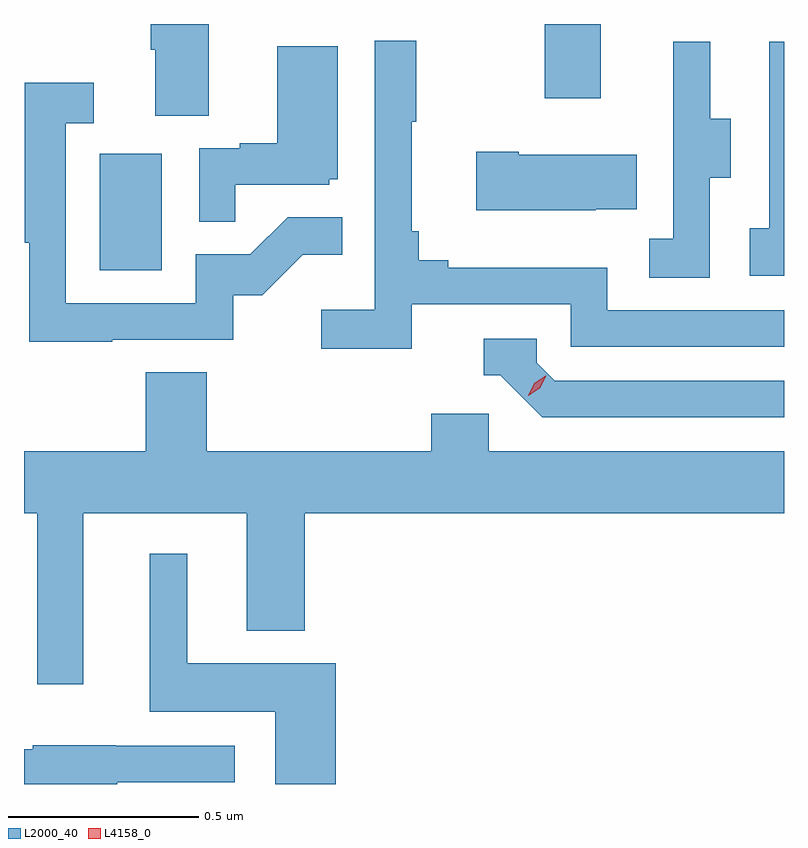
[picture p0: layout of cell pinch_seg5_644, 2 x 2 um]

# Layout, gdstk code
import gdstk
lib = gdstk.Library(unit=1e-6, precision=1e-09)
def R(c, l, rs):  # rectangles x0, y0, x1, y1
    for r in rs: c.add(gdstk.rectangle(r[:2], r[2:], *l))
def P(c, l, *ps):  # polygons
    for p in ps: c.add(gdstk.Polygon(p, *l))
L2000_40 = (2000, 40)
L4158_0 = (4158, 0)

pinch_seg5_644 = lib.new_cell('pinch_seg5_644')
R(pinch_seg5_644, L2000_40, [(1060.646,861.396,1060.81,861.703), (1061.818,861.849,1061.965,862.044)])
P(pinch_seg5_644, L2000_40, [(1060.933,862.044),(1060.781,862.044),(1060.781,861.976),(1060.793,861.976),(1060.793,861.802),(1060.933,861.802)],
  [(1061.468,861.306),(1061.886,861.306),(1061.886,861.195),(1062.447,861.195),(1062.447,861.291),(1061.982,861.291),(1061.982,861.403),(1061.563,861.403),(1061.563,861.422),(1061.486,861.422),(1061.486,861.499),(1061.467,861.499),(1061.467,861.787),(1061.479,861.787),(1061.479,862),(1061.37,862),(1061.37,861.292),(1061.229,861.292),(1061.229,861.19),(1061.468,861.19)],
  [(1062.447,861.997),(1062.408,861.997),(1062.408,861.506),(1062.357,861.506),(1062.357,861.381),(1062.447,861.381)],
  [(1062.252,861.64),(1062.307,861.64),(1062.307,861.795),(1062.253,861.795),(1062.253,861.997),(1062.155,861.997),(1062.155,861.783),(1062.156,861.783),(1062.156,861.479),(1062.093,861.479),(1062.093,861.376),(1062.252,861.376)],
  [(1061.003,861.621),(1061.25,861.621),(1061.25,861.636),(1061.272,861.636),(1061.272,861.985),(1061.114,861.985),(1061.114,861.73),(1061.015,861.73),(1061.015,861.717),(1060.908,861.717),(1060.908,861.523),(1061.003,861.523)],
  [(1060.679,861.213),(1060.998,861.213),(1060.998,861.33),(1061.074,861.33),(1061.181,861.437),(1061.285,861.437),(1061.285,861.536),(1061.141,861.536),(1061.043,861.438),(1060.899,861.438),(1060.899,861.309),(1060.557,861.309),(1060.557,861.783),(1060.63,861.783),(1060.63,861.889),(1060.449,861.889),(1060.449,861.469),(1060.461,861.469),(1060.461,861.208),(1060.679,861.208)],
  [(1061.951,861.557),(1062.059,861.557),(1062.059,861.7),(1061.749,861.7),(1061.749,861.708),(1061.637,861.708),(1061.637,861.554),(1061.951,861.554)],
  [(1062.447,861.105),(1061.844,861.105),(1061.796,861.153),(1061.796,861.216),(1061.657,861.216),(1061.657,861.12),(1061.7,861.12),(1061.811,861.009),(1062.447,861.009)],
  [(1060.603,860.756),(1061.033,860.756),(1061.033,860.447),(1061.186,860.447),(1061.186,860.756),(1062.447,860.756),(1062.447,860.92),(1061.67,860.92),(1061.67,861.018),(1061.519,861.018),(1061.519,860.92),(1060.928,860.92),(1060.928,861.128),(1060.768,861.128),(1060.768,860.92),(1060.447,860.92),(1060.447,860.756),(1060.482,860.756),(1060.482,860.307),(1060.603,860.307)],
  [(1061.267,860.362),(1060.876,860.362),(1060.876,860.65),(1060.778,860.65),(1060.778,860.234),(1061.108,860.234),(1061.108,860.044),(1061.267,860.044)],
  [(1060.693,860.049),(1061.002,860.049),(1061.002,860.145),(1060.689,860.145),(1060.689,860.146),(1060.47,860.146),(1060.47,860.135),(1060.447,860.135),(1060.447,860.044),(1060.693,860.044)])
P(pinch_seg5_644, L4158_0, [(1061.774,861.066),(1061.774,861.067),(1061.79,861.099),(1061.82,861.118),(1061.821,861.118),(1061.821,861.118),(1061.804,861.086),(1061.774,861.066)])

lib.write_gds('pinch_seg5_644.gds')
